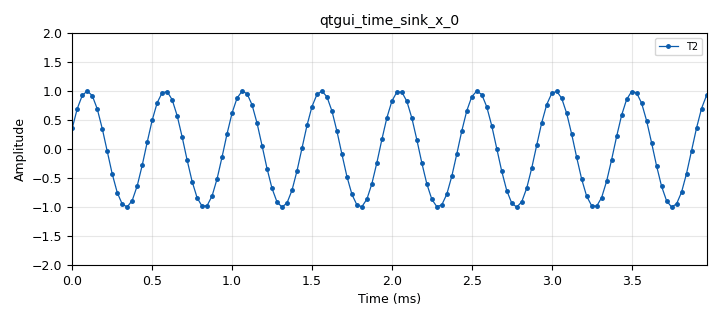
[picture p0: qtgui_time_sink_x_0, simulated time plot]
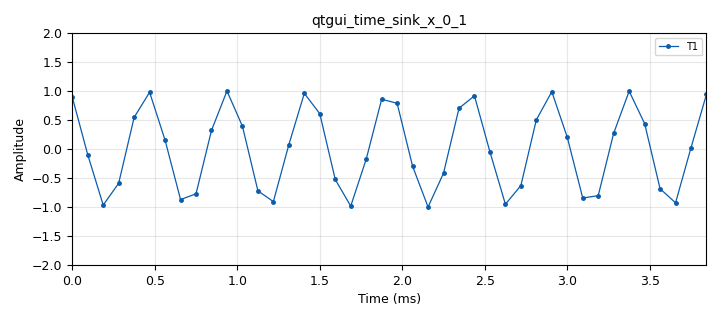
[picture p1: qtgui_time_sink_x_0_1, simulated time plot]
<?xml version='1.0' encoding='utf-8'?>
<?grc format='1' created='3.7.13'?>
<flow_graph>
<block>
<key>options</key>
<param><key>id</key><value>top_block</value></param>
<param><key>generate_options</key><value>qt_gui</value></param>
<param><key>run</key><value>run_stop</value></param>
</block>
<block>
<key>variable_qtgui_range</key>
<param><key>id</key><value>Del</value></param>
<param><key>value</key><value>0</value></param>
<param><key>gui_hint</key><value>0,2,1,1</value></param>
<param><key>label</key><value>Retardo</value></param>
<param><key>orient</key><value>Qt.Horizontal</value></param>
<param><key>start</key><value>0</value></param>
<param><key>step</key><value>1</value></param>
<param><key>stop</key><value>20000</value></param>
<param><key>rangeType</key><value>int</value></param>
</block>
<block>
<key>variable</key>
<param><key>id</key><value>Kd</value></param>
<param><key>value</key><value>3</value></param>
</block>
<block>
<key>variable_qtgui_range</key>
<param><key>id</key><value>Vol</value></param>
<param><key>value</key><value>1.</value></param>
<param><key>gui_hint</key><value>0,1,1,1</value></param>
<param><key>label</key><value>Volumen</value></param>
<param><key>orient</key><value>Qt.Horizontal</value></param>
<param><key>start</key><value>0</value></param>
<param><key>step</key><value>10/100.</value></param>
<param><key>stop</key><value>10.</value></param>
</block>
<block>
<key>variable</key>
<param><key>id</key><value>f</value></param>
<param><key>value</key><value>2048</value></param>
</block>
<block>
<key>variable</key>
<param><key>id</key><value>f_nyq</value></param>
<param><key>value</key><value>f*2</value></param>
</block>
<block>
<key>variable_qtgui_check_box</key>
<param><key>id</key><value>run_stop</value></param>
<param><key>value</key><value>True</value></param>
<param><key>false</key><value>False</value></param>
<param><key>gui_hint</key><value>0,0</value></param>
<param><key>label</key><value>Inicial/Parar</value></param>
<param><key>true</key><value>True</value></param>
<param><key>type</key><value>int</value></param>
</block>
<block>
<key>variable</key>
<param><key>id</key><value>samp_rate</value></param>
<param><key>value</key><value>32000</value></param>
</block>
<block>
<key>variable</key>
<param><key>id</key><value>samp_rate_d</value></param>
<param><key>value</key><value>samp_rate/Kd</value></param>
</block>
<block>
<key>analog_sig_source_x</key>
<param><key>id</key><value>analog_sig_source_x_0</value></param>
<param><key>amp</key><value>1</value></param>
<param><key>freq</key><value>f</value></param>
<param><key>offset</key><value>0</value></param>
<param><key>type</key><value>float</value></param>
<param><key>samp_rate</key><value>samp_rate</value></param>
<param><key>waveform</key><value>analog.GR_COS_WAVE</value></param>
</block>
<block>
<key>b_PSD</key>
<param><key>id</key><value>b_PSD_0</value></param>
<param><key>samp_rate_audio</key><value>samp_rate</value></param>
<param><key>gui_hint</key><value>menu@1:1,0,1,1</value></param>
<param><key>N</key><value>1024</value></param>
<param><key>Ensayos</key><value>1000000</value></param>
<param><key>Titulo</key><value>'T2'</value></param>
<param><key>Ymax</key><value>5e-6</value></param>
</block>
<block>
<key>b_PSD</key>
<param><key>id</key><value>b_PSD_0_0</value></param>
<param><key>samp_rate_audio</key><value>samp_rate</value></param>
<param><key>gui_hint</key><value>menu@1:2,0,1,1</value></param>
<param><key>N</key><value>1024</value></param>
<param><key>Ensayos</key><value>1000000</value></param>
<param><key>Titulo</key><value>'T1'</value></param>
<param><key>Ymax</key><value>5e-6</value></param>
</block>
<block>
<key>blocks_delay</key>
<param><key>id</key><value>blocks_delay_0</value></param>
<param><key>delay</key><value>Del</value></param>
<param><key>type</key><value>float</value></param>
</block>
<block>
<key>qtgui_tab_widget</key>
<param><key>id</key><value>menu</value></param>
<param><key>gui_hint</key><value>1,0,1,3</value></param>
<param><key>label0</key><value>tiempo</value></param>
<param><key>label1</key><value>frecuencia</value></param>
<param><key>num_tabs</key><value>2</value></param>
</block>
<block>
<key>qtgui_time_sink_x</key>
<param><key>id</key><value>qtgui_time_sink_x_0</value></param>
<param><key>gui_hint</key><value>menu@0:2,0,1,2</value></param>
<param><key>color1</key><value>"blue"</value></param>
<param><key>label1</key><value>T2</value></param>
<param><key>marker1</key><value>0</value></param>
<param><key>width1</key><value>3</value></param>
<param><key>size</key><value>1024/8</value></param>
<param><key>srate</key><value>samp_rate</value></param>
<param><key>type</key><value>float</value></param>
<param><key>ymax</key><value>2</value></param>
<param><key>ymin</key><value>-2</value></param>
</block>
<block>
<key>qtgui_time_sink_x</key>
<param><key>id</key><value>qtgui_time_sink_x_0_1</value></param>
<param><key>gui_hint</key><value>menu@0:3,0,1,2</value></param>
<param><key>color1</key><value>"blue"</value></param>
<param><key>label1</key><value>T1</value></param>
<param><key>marker1</key><value>0</value></param>
<param><key>width1</key><value>3</value></param>
<param><key>size</key><value>1024/(8*Kd)</value></param>
<param><key>srate</key><value>samp_rate_d</value></param>
<param><key>type</key><value>float</value></param>
<param><key>ymax</key><value>2</value></param>
<param><key>ymin</key><value>-2</value></param>
</block>
<block>
<key>rational_resampler_xxx</key>
<param><key>id</key><value>rational_resampler_xxx_0</value></param>
<param><key>decim</key><value>Kd</value></param>
<param><key>interp</key><value>1</value></param>
<param><key>taps</key><value></value></param>
<param><key>type</key><value>fff</value></param>
</block>
<block>
<key>virtual_sink</key>
<param><key>id</key><value>virtual_sink_0_1_0_0</value></param>
<param><key>stream_id</key><value>T2</value></param>
</block>
<block>
<key>virtual_sink</key>
<param><key>id</key><value>virtual_sink_0_1_0_0_0</value></param>
<param><key>stream_id</key><value>T1</value></param>
</block>
<block>
<key>virtual_source</key>
<param><key>id</key><value>virtual_source_0</value></param>
<param><key>stream_id</key><value>T2</value></param>
</block>
<block>
<key>virtual_source</key>
<param><key>id</key><value>virtual_source_0_0_0</value></param>
<param><key>stream_id</key><value>T2</value></param>
</block>
<block>
<key>virtual_source</key>
<param><key>id</key><value>virtual_source_0_0_0_0</value></param>
<param><key>stream_id</key><value>T1</value></param>
</block>
<block>
<key>virtual_source</key>
<param><key>id</key><value>virtual_source_0_2</value></param>
<param><key>stream_id</key><value>T1</value></param>
</block>
<connection><source_block_id>analog_sig_source_x_0</source_block_id><sink_block_id>rational_resampler_xxx_0</sink_block_id><source_key>0</source_key><sink_key>0</sink_key></connection>
<connection><source_block_id>analog_sig_source_x_0</source_block_id><sink_block_id>virtual_sink_0_1_0_0</sink_block_id><source_key>0</source_key><sink_key>0</sink_key></connection>
<connection><source_block_id>blocks_delay_0</source_block_id><sink_block_id>qtgui_time_sink_x_0</sink_block_id><source_key>0</source_key><sink_key>0</sink_key></connection>
<connection><source_block_id>rational_resampler_xxx_0</source_block_id><sink_block_id>virtual_sink_0_1_0_0_0</sink_block_id><source_key>0</source_key><sink_key>0</sink_key></connection>
<connection><source_block_id>virtual_source_0</source_block_id><sink_block_id>blocks_delay_0</sink_block_id><source_key>0</source_key><sink_key>0</sink_key></connection>
<connection><source_block_id>virtual_source_0_0_0</source_block_id><sink_block_id>b_PSD_0</sink_block_id><source_key>0</source_key><sink_key>0</sink_key></connection>
<connection><source_block_id>virtual_source_0_0_0_0</source_block_id><sink_block_id>b_PSD_0_0</sink_block_id><source_key>0</source_key><sink_key>0</sink_key></connection>
<connection><source_block_id>virtual_source_0_2</source_block_id><sink_block_id>qtgui_time_sink_x_0_1</sink_block_id><source_key>0</source_key><sink_key>0</sink_key></connection>
</flow_graph>
